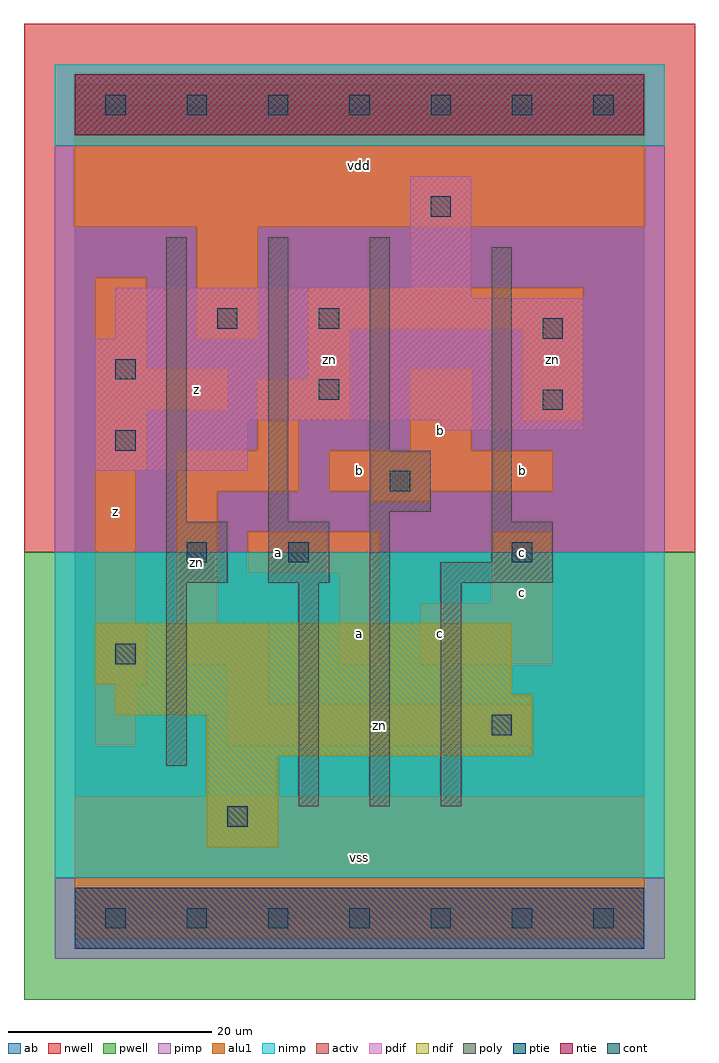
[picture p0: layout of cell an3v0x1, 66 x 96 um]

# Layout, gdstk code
import gdstk
lib = gdstk.Library(unit=1e-6, precision=1e-09)
def R(c, l, rs):  # rectangles x0, y0, x1, y1
    for r in rs: c.add(gdstk.rectangle(r[:2], r[2:], *l))
def A(c, l, x, y, w, h, nx, ny, dx, dy):  # array of equal rectangles
    R(c, l, [(x+i*dx, y+j*dy, x+i*dx+w, y+j*dy+h) for i in range(nx) for j in range(ny)])
ndif = (3, 0)
pdif = (4, 0)
ntie = (5, 0)
ptie = (6, 0)
cont = (25, 0)
pwell = (41, 0)
nwell = (42, 0)
activ = (43, 0)
pimp = (44, 0)
nimp = (45, 0)
poly = (46, 0)
alu1 = (49, 0)
ab = (63, 0)

an3v0x1 = lib.new_cell('an3v0x1')
R(an3v0x1, ndif, [(13,7,20,16), (13,16,45,20), (4,20,45,22), (4,22,43,23), (2,23,43,29)])
R(an3v0x1, pdif, [(2,44,17,49), (36,48,50,49), (2,49,50,57), (4,57,50,61), (4,61,39,62), (33,62,39,73)])
R(an3v0x1, ntie, [(0,77,56,83)])
R(an3v0x1, ptie, [(0,-3,56,3)])
A(an3v0x1, cont, 3, -1, 2, 2, 7, 2, 8, 80)
R(an3v0x1, cont, [(15,9,17,11), (41,18,43,20), (4,25,6,27), (11,35,13,37), (21,35,23,37), (43,35,45,37), (31,42,33,44), (4,46,6,48), (46,50,48,52), (24,51,26,53), (4,53,6,55), (46,57,48,59), (14,58,16,60), (24,58,26,60), (35,69,37,71)])
R(an3v0x1, pwell, [(-5,-8,61,36)])
R(an3v0x1, nwell, [(-5,36,61,88)])
R(an3v0x1, activ, [(0,-3,56,3), (13,7,20,16), (13,16,45,20), (4,20,45,22), (4,22,43,23), (2,23,43,29), (2,44,17,49), (36,48,50,49), (2,49,50,57), (4,57,50,61), (4,61,39,62), (33,62,39,73), (0,77,56,83)])
R(an3v0x1, pimp, [(-2,-4,58,4), (-2,36,58,76)])
R(an3v0x1, nimp, [(-2,4,58,36), (-2,76,58,84)])
R(an3v0x1, poly, [(22,11,24,33), (29,11,31,40), (36,11,38,33), (9,15,11,33), (9,33,15,39), (19,33,25,39), (36,33,47,35), (41,35,47,39), (9,39,11,67), (19,39,21,67), (41,39,43,66), (29,40,35,46), (29,46,31,67)])
R(an3v0x1, alu1, [(0,-2,56,12), (2,17,6,23), (15,17,45,21), (15,21,19,25), (2,23,7,29), (10,25,19,29), (26,25,30,34), (34,25,47,31), (2,29,6,44), (10,29,14,42), (41,31,47,38), (17,34,30,38), (29,41,35,42), (10,42,22,46), (25,42,47,46), (2,44,7,50), (18,46,22,49), (33,46,39,54), (18,49,27,53), (44,49,50,58), (2,50,15,54), (23,53,27,58), (2,54,7,63), (12,57,18,68), (23,58,50,62), (0,68,56,82)])
R(an3v0x1, ab, [(0,0,56,80)])
an3v0x1.add(gdstk.Label('zn', (12,35), layer=49, texttype=0))
an3v0x1.add(gdstk.Label('zn', (25,55), layer=49, texttype=0))
an3v0x1.add(gdstk.Label('zn', (30,19), layer=49, texttype=0))
an3v0x1.add(gdstk.Label('zn', (47,55), layer=49, texttype=0))
an3v0x1.add(gdstk.Label('z', (4,40), layer=49, texttype=0))
an3v0x1.add(gdstk.Label('a', (20,36), layer=49, texttype=0))
an3v0x1.add(gdstk.Label('z', (12,52), layer=49, texttype=0))
an3v0x1.add(gdstk.Label('vss', (28,6), layer=49, texttype=0))
an3v0x1.add(gdstk.Label('a', (28,28), layer=49, texttype=0))
an3v0x1.add(gdstk.Label('c', (36,28), layer=49, texttype=0))
an3v0x1.add(gdstk.Label('b', (28,44), layer=49, texttype=0))
an3v0x1.add(gdstk.Label('b', (36,48), layer=49, texttype=0))
an3v0x1.add(gdstk.Label('vdd', (28,74), layer=49, texttype=0))
an3v0x1.add(gdstk.Label('c', (44,32), layer=49, texttype=0))
an3v0x1.add(gdstk.Label('c', (44,36), layer=49, texttype=0))
an3v0x1.add(gdstk.Label('b', (44,44), layer=49, texttype=0))

lib.write_gds('an3v0x1.gds')
